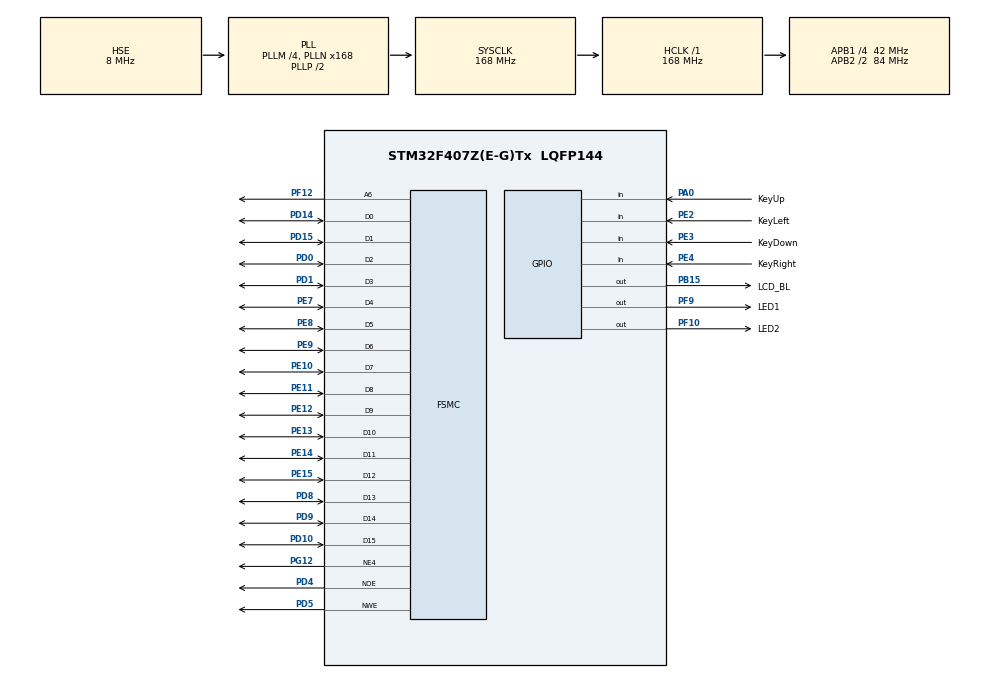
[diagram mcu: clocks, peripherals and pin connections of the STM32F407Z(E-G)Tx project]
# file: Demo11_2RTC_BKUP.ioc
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FSMC.AccessMode4=FSMC_ACCESS_MODE_A
FSMC.AddressSetupTime4=2
FSMC.BusTurnAroundDuration4=0
FSMC.DataSetupTime4=16
FSMC.ExtendedAccessMode4=FSMC_ACCESS_MODE_A
FSMC.ExtendedAddressSetupTime4=4
FSMC.ExtendedBusTurnAroundDuration4=0
FSMC.ExtendedDataSetupTime4=9
FSMC.ExtendedMode4=FSMC_EXTENDED_MODE_ENABLE
FSMC.NSBank4=FSMC_NORSRAM_BANK4
FSMC.WriteOperation4=FSMC_WRITE_OPERATION_ENABLE
Mcu.Family=STM32F4
Mcu.Name=STM32F407Z(E-G)Tx
Mcu.Package=LQFP144
NVIC.PriorityGroup=NVIC_PRIORITYGROUP_4
NVIC.RTC_WKUP_IRQn=true\:1\:0\:true\:false\:true\:true\:true\:true
PA0-WKUP.GPIO_Label=KeyUp
PA0-WKUP.GPIO_PuPd=GPIO_PULLDOWN
PA0-WKUP.Signal=GPIO_Input
PA13.Mode=Serial_Wire
PA13.Signal=SYS_JTMS-SWDIO
PA14.Mode=Serial_Wire
PA14.Signal=SYS_JTCK-SWCLK
PB15.GPIO_Label=LCD_BL
PB15.PinState=GPIO_PIN_RESET
PB15.Signal=GPIO_Output
PC14-OSC32_IN.Mode=LSE-External-Oscillator
PC14-OSC32_IN.Signal=RCC_OSC32_IN
PC15-OSC32_OUT.Mode=LSE-External-Oscillator
PC15-OSC32_OUT.Signal=RCC_OSC32_OUT
PD0.Signal=FSMC_D2_DA2
PD1.Signal=FSMC_D3_DA3
PD10.Signal=FSMC_D15_DA15
PD14.Signal=FSMC_D0_DA0
PD15.Signal=FSMC_D1_DA1
PD4.Signal=FSMC_NOE
PD5.Signal=FSMC_NWE
PD8.Signal=FSMC_D13_DA13
PD9.Signal=FSMC_D14_DA14
PE10.Signal=FSMC_D7_DA7
PE11.Signal=FSMC_D8_DA8
PE12.Signal=FSMC_D9_DA9
PE13.Signal=FSMC_D10_DA10
PE14.Signal=FSMC_D11_DA11
PE15.Signal=FSMC_D12_DA12
PE2.GPIO_Label=KeyLeft
PE2.GPIO_PuPd=GPIO_PULLUP
PE2.Signal=GPIO_Input
PE3.GPIO_Label=KeyDown
PE3.GPIO_PuPd=GPIO_PULLUP
PE3.Signal=GPIO_Input
PE4.GPIO_Label=KeyRight
PE4.GPIO_PuPd=GPIO_PULLUP
PE4.Signal=GPIO_Input
PE7.Signal=FSMC_D4_DA4
PE8.Signal=FSMC_D5_DA5
PE9.Signal=FSMC_D6_DA6
PF10.GPIO_Label=LED2
PF10.Signal=GPIO_Output
PF12.Signal=FSMC_A6
PF9.GPIO_Label=LED1
PF9.Signal=GPIO_Output
PG12.Mode=NorPsramChipSelect4_4
PG12.Signal=FSMC_NE4
PH0-OSC_IN.Mode=HSE-External-Oscillator
PH0-OSC_IN.Signal=RCC_OSC_IN
PH1-OSC_OUT.Mode=HSE-External-Oscillator
PH1-OSC_OUT.Signal=RCC_OSC_OUT
ProjectManager.HeapSize=0x200
ProjectManager.StackSize=0x400
ProjectManager.TargetToolchain=STM32CubeIDE
RCC.48MHZClocksFreq_Value=84000000
RCC.AHBFreq_Value=168000000
RCC.APB1CLKDivider=RCC_HCLK_DIV4
RCC.APB1Freq_Value=42000000
RCC.APB1TimFreq_Value=84000000
RCC.APB2CLKDivider=RCC_HCLK_DIV2
RCC.APB2Freq_Value=84000000
RCC.APB2TimFreq_Value=168000000
RCC.CortexFreq_Value=168000000
RCC.FLatency=FLASH_LATENCY_5
RCC.HCLKFreq_Value=168000000
RCC.HSE_VALUE=8000000
RCC.HSI_VALUE=16000000
RCC.PLLM=4
RCC.PLLN=168
RCC.PLLSourceVirtual=RCC_PLLSOURCE_HSE
RCC.RCC_RTC_Clock_Source=RCC_RTCCLKSOURCE_LSE
RCC.SYSCLKFreq_VALUE=168000000
RCC.SYSCLKSource=RCC_SYSCLKSOURCE_PLLCLK
RCC.VCOOutputFreq_Value=336000000
RTC.Date=15
RTC.Format=RTC_FORMAT_BIN
RTC.Hours=15
RTC.Minutes=30
RTC.Month=RTC_MONTH_MAY
RTC.WakeUpClock=RTC_WAKEUPCLOCK_CK_SPRE_16BITS
RTC.Year=19
SH.FSMC_A6.0=FSMC_A6,A6_4
SH.FSMC_D0_DA0.0=FSMC_D0,16b-d4
SH.FSMC_D10_DA10.0=FSMC_D10,16b-d4
SH.FSMC_D11_DA11.0=FSMC_D11,16b-d4
SH.FSMC_D12_DA12.0=FSMC_D12,16b-d4
SH.FSMC_D13_DA13.0=FSMC_D13,16b-d4
SH.FSMC_D14_DA14.0=FSMC_D14,16b-d4
SH.FSMC_D15_DA15.0=FSMC_D15,16b-d4
SH.FSMC_D1_DA1.0=FSMC_D1,16b-d4
SH.FSMC_D2_DA2.0=FSMC_D2,16b-d4
SH.FSMC_D3_DA3.0=FSMC_D3,16b-d4
SH.FSMC_D4_DA4.0=FSMC_D4,16b-d4
SH.FSMC_D5_DA5.0=FSMC_D5,16b-d4
SH.FSMC_D6_DA6.0=FSMC_D6,16b-d4
SH.FSMC_D7_DA7.0=FSMC_D7,16b-d4
SH.FSMC_D8_DA8.0=FSMC_D8,16b-d4
SH.FSMC_D9_DA9.0=FSMC_D9,16b-d4
SH.FSMC_NOE.0=FSMC_NOE,Lcd4
SH.FSMC_NWE.0=FSMC_NWE,Lcd4
VP_RTC_VS_RTC_Activate.Mode=RTC_Enabled
VP_RTC_VS_RTC_Calendar.Mode=RTC_Calendar
VP_RTC_VS_RTC_WakeUp_intern.Mode=WakeUp
board=custom

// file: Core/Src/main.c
/* USER CODE BEGIN Header */
/**
 ******************************************************************************
 * @file           : main.c
 * @brief          : Main program body
 ******************************************************************************
 * @attention
 *
 * Copyright (c) 2022 STMicroelectronics.
 * All rights reserved.
 *
 * This software is licensed under terms that can be found in the LICENSE file
 * in the root directory of this software component.
 * If no LICENSE file comes with this software, it is provided AS-IS.
 *
 ******************************************************************************
 */
/* USER CODE END Header */
#include "main.h"
#include "rtc.h"
#include "gpio.h"
#include "fsmc.h"

/* USER CODE BEGIN Includes */
#include "lcd.h"
#include "keyled.h"
#include <stdio.h>
/* USER CODE END Includes */

void SystemClock_Config(void);

int main(void) {

	/* MCU Configuration--------------------------------------------------------*/

	/* Reset of all peripherals, Initializes the Flash interface and the Systick. */
	HAL_Init();

	/* Configure the system clock */
	SystemClock_Config();

	/* Initialize all configured peripherals */
	MX_GPIO_Init();
	MX_FSMC_Init();
	MX_RTC_Init();
	/* USER CODE BEGIN 2 */
	__HAL_RTC_WAKEUPTIMER_DISABLE(&hrtc);
	lcd_init();
	lcd_show_str(0, 10, 16, "Demo11_2:Using Backup Registers", RED);
	uint32_t iniRTC = HAL_RTCEx_BKUPRead(&hrtc, RTC_BKP_DR0);
	if ((iniRTC & 0x01) == 0) {
		lcd_show_str(0, 30, 16, "Reset RTC time on startup: Yes", RED);
	} else {
		lcd_show_str(0, 30, 16, "Reset RTC time on startup: No ", RED);
	}
	lcd_show_str(0, 70, 16, "[1]KeyUp    = Reset RTC time on startup", RED);
	lcd_show_str(0, 90, 16, "[2]KeyLeft  = Save current time to BKUP", RED);
	lcd_show_str(0, 110, 16, "[3]KeyRight = Change RTC time from BKUP", RED);
	lcd_show_str(0, 130, 16, "[4]KeyDown  = Read BKUP registers      ", RED);
	__HAL_RTC_WAKEUPTIMER_ENABLE(&hrtc);
	/* USER CODE END 2 */

	/* Infinite loop */
	/* USER CODE BEGIN WHILE */
	while (1) {
		KEYS curKey = ScanPressedKey(KEY_WAIT_ALWAYS);
		lcd_fill(0, 170, 320, 270, WHITE);
		switch (curKey) {
		case KEY_UP:
			RTC_ToggleReset();
			break;
		case KEY_LEFT:
			RTC_SaveToBKUP();
			break;
		case KEY_RIGHT:
			RTC_LoadFromBKUP();
			break;
		case KEY_DOWN:
			RTC_ReadBKUP();
			break;
		default:
			break;
		}
		HAL_Delay(200);
		/* USER CODE END WHILE */

	}
}

void SystemClock_Config(void) {
	RCC_OscInitTypeDef RCC_OscInitStruct = { 0 };
	RCC_ClkInitTypeDef RCC_ClkInitStruct = { 0 };

	/** Configure the main internal regulator output voltage
	 */
	__HAL_RCC_PWR_CLK_ENABLE();
	__HAL_PWR_VOLTAGESCALING_CONFIG(PWR_REGULATOR_VOLTAGE_SCALE1);

	/** Initializes the RCC Oscillators according to the specified parameters
	 * in the RCC_OscInitTypeDef structure.
	 */
	RCC_OscInitStruct.OscillatorType = RCC_OSCILLATORTYPE_HSE
			| RCC_OSCILLATORTYPE_LSE;
	RCC_OscInitStruct.HSEState = RCC_HSE_ON;
	RCC_OscInitStruct.LSEState = RCC_LSE_ON;
	RCC_OscInitStruct.PLL.PLLState = RCC_PLL_ON;
	RCC_OscInitStruct.PLL.PLLSource = RCC_PLLSOURCE_HSE;
	RCC_OscInitStruct.PLL.PLLM = 4;
	RCC_OscInitStruct.PLL.PLLN = 168;
	RCC_OscInitStruct.PLL.PLLP = RCC_PLLP_DIV2;
	RCC_OscInitStruct.PLL.PLLQ = 4;
	if (HAL_RCC_OscConfig(&RCC_OscInitStruct) != HAL_OK) {
		Error_Handler();
	}

	/** Initializes the CPU, AHB and APB buses clocks
	 */
	RCC_ClkInitStruct.ClockType = RCC_CLOCKTYPE_HCLK | RCC_CLOCKTYPE_SYSCLK
			| RCC_CLOCKTYPE_PCLK1 | RCC_CLOCKTYPE_PCLK2;
	RCC_ClkInitStruct.SYSCLKSource = RCC_SYSCLKSOURCE_PLLCLK;
	RCC_ClkInitStruct.AHBCLKDivider = RCC_SYSCLK_DIV1;
	RCC_ClkInitStruct.APB1CLKDivider = RCC_HCLK_DIV4;
	RCC_ClkInitStruct.APB2CLKDivider = RCC_HCLK_DIV2;

	if (HAL_RCC_ClockConfig(&RCC_ClkInitStruct, FLASH_LATENCY_5) != HAL_OK) {
		Error_Handler();
	}
}

/* USER CODE BEGIN 4 */
void HAL_RTCEx_WakeUpTimerEventCallback(RTC_HandleTypeDef *hrtc) {
	RTC_TimeTypeDef sTime;
	RTC_DateTypeDef sDate;
	LED1_Toggle();
	if (HAL_RTC_GetTime(hrtc, &sTime, RTC_FORMAT_BIN) == HAL_OK) {
		HAL_RTC_GetDate(hrtc, &sDate, RTC_FORMAT_BIN);
		char str[40];
		/* Show Time */
		sprintf(str, "Current Time = %2d:%2d:%2d", sTime.Hours,
				sTime.Minutes, sTime.Seconds);
		lcd_show_str(0, 50, 16, str, RED);
	}
}

void RTC_ToggleReset() {
	uint32_t iniRTC = HAL_RTCEx_BKUPRead(&hrtc, RTC_BKP_DR0);
	iniRTC = !iniRTC;
	if ((iniRTC & 0x01) == 0) {
		lcd_show_str(0, 170, 16, "Reset RTC time on startup    ", RED);
	} else {
		lcd_show_str(0, 170, 16, "Not reset RTC time on startup", RED);
	}
	HAL_RTCEx_BKUPWrite(&hrtc, RTC_BKP_DR0, iniRTC);
}

void RTC_SaveToBKUP() {
	RTC_TimeTypeDef sTime;
	RTC_DateTypeDef sDate;
	if (HAL_RTC_GetTime(&hrtc, &sTime, RTC_FORMAT_BIN) == HAL_OK) {
		HAL_RTC_GetDate(&hrtc, &sDate, RTC_FORMAT_BIN);

		HAL_RTCEx_BKUPWrite(&hrtc, RTC_BKP_DR1, 0x01);
		HAL_RTCEx_BKUPWrite(&hrtc, RTC_BKP_DR2, sTime.Hours);
		HAL_RTCEx_BKUPWrite(&hrtc, RTC_BKP_DR3, sTime.Minutes);
		HAL_RTCEx_BKUPWrite(&hrtc, RTC_BKP_DR4, sTime.Seconds);

		char str[40];
		/* Show Time */
		sprintf(str, "Current Time = %2d:%2d:%2d", sTime.Hours,
				sTime.Minutes, sTime.Seconds);
		lcd_show_str(0, 170, 16, str, RED);
		lcd_show_str(0, 190, 16, "Current Time is saved in BKUP", RED);
	}
}

void RTC_LoadFromBKUP() {
	if (HAL_RTCEx_BKUPRead(&hrtc, RTC_BKP_DR1)) {
		RTC_TimeTypeDef sTime;
		sTime.Hours   = HAL_RTCEx_BKUPRead(&hrtc, RTC_BKP_DR2);
		sTime.Minutes = HAL_RTCEx_BKUPRead(&hrtc, RTC_BKP_DR3);
		sTime.Seconds = HAL_RTCEx_BKUPRead(&hrtc, RTC_BKP_DR4);
		HAL_Delay(10);
		if (HAL_RTC_SetTime(&hrtc, &sTime, RTC_FORMAT_BIN) == HAL_OK) {
			lcd_show_str(0, 170, 16, "Load BKUP time, success", RED);
		} else {
			lcd_show_str(0, 170, 16, "Load BKUP time, error", RED);
		}
	} else {
		lcd_show_str(0, 170, 16, "No BKUP time is saved", RED);
	}
}

void RTC_ReadBKUP() {
	uint32_t regValue;
	char str[40];

	regValue = HAL_RTCEx_BKUPRead(&hrtc, RTC_BKP_DR0);
	sprintf(str, "Reset RTC, BKP_DR0 = %lu", regValue);
	lcd_show_str(0, 170, 16, str, RED);

	regValue = HAL_RTCEx_BKUPRead(&hrtc, RTC_BKP_DR1);
	sprintf(str, "Time is saved, BKP_DR1 = %lu", regValue);
	lcd_show_str(0, 190, 16, str, RED);

	regValue = HAL_RTCEx_BKUPRead(&hrtc, RTC_BKP_DR2);
	sprintf(str, "Saved time (Hour), BKP_DR2 = %lu", regValue);
	lcd_show_str(0, 210, 16, str, RED);

	regValue = HAL_RTCEx_BKUPRead(&hrtc, RTC_BKP_DR3);
	sprintf(str, "Saved time (Min), BKP_DR3 = %lu", regValue);
	lcd_show_str(0, 230, 16, str, RED);

	regValue = HAL_RTCEx_BKUPRead(&hrtc, RTC_BKP_DR4);
	sprintf(str, "Saved time (Sec), BKP_DR4 = %lu", regValue);
	lcd_show_str(0, 250, 16, str, RED);
}

/* USER CODE END 4 */

void Error_Handler(void) {
	__disable_irq();
	while (1) {
	}
}
